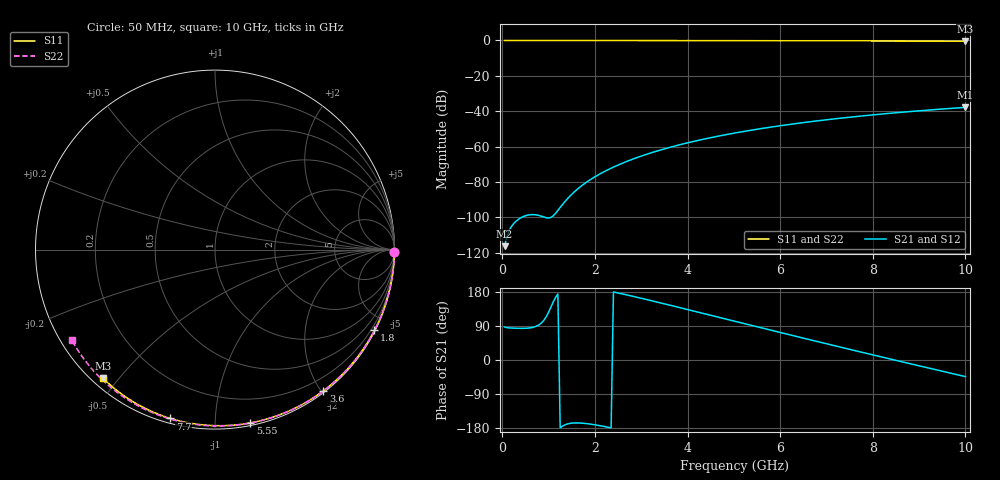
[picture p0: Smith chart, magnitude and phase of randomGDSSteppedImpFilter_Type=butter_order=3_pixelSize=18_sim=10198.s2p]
! freq	dB(S11)	phase(S11)	dB(S12)	phase(S12)
!  dB(S21)	phase(S21)	dB(S22)	phase(S22)
!S-par simulation data
#  GHz  S  DB  R 50
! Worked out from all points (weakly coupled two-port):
!   200 points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, 50 MHz to 10 GHz, reference 50 ohm
!   highest |S21| = -37.85 dB at 10 GHz (marker M1); lowest = -116.4 dB at 50 MHz (marker M2)
!   lowest |S11| = -0.4 dB at 10 GHz (marker M3), VSWR 39.10, Z = 1.54 - j22.7 ohm
!   |S11| at or under -10 dB: nowhere
!   |S22| runs from -0.5 to 0.0 dB; largest |S21 - S12| = 0
!   S11 on the Smith chart (normalised r, x): 50 MHz: open; 1.8 GHz: 0.04, -4.19; 3.6 GHz: 0.02, -2.03; 5.55 GHz: 0.02, -1.22; 7.7 GHz: 0.02, -0.77; 10 GHz: 0.03, -0.45
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0.05  -0.00 -0.8  -116.37 87.0  -116.37 87.0  -0.00 -0.9
0.45  -0.01 -6.8  -99.65 83.5  -99.65 83.5  -0.01 -7.7
0.9  -0.02 -13.6  -99.90 105.1  -99.90 105.1  -0.02 -15.2
1.3  -0.02 -19.5  -92.81 -174.5  -92.81 -174.5  -0.03 -21.9
1.75  -0.03 -26.1  -81.46 -166.9  -81.46 -166.9  -0.04 -29.3
1.8  -0.03 -26.9  -80.51 -167.6  -80.51 -167.6  -0.04 -30.2
1.85  -0.04 -27.6  -79.61 -168.3  -79.61 -168.3  -0.04 -31.0
2.05  -0.04 -30.5  -76.35 -172.1  -76.35 -172.1  -0.04 -34.3
2.2  -0.04 -32.7  -74.21 -175.4  -74.21 -175.4  -0.05 -36.7
2.55  -0.05 -37.7  -69.91 175.6  -69.91 175.6  -0.05 -42.3
2.95  -0.06 -43.4  -65.87 164.4  -65.87 164.4  -0.06 -48.7
3.4  -0.07 -49.8  -62.08 151.2  -62.08 151.2  -0.07 -55.8
3.6  -0.07 -52.5  -60.59 145.2  -60.59 145.2  -0.08 -58.9
4.3  -0.09 -62.1  -56.11 124.1  -56.11 124.1  -0.10 -69.5
5.05  -0.11 -72.0  -52.22 101.3  -52.22 101.3  -0.12 -80.6
5.55  -0.13 -78.5  -50.02 86.2  -50.02 86.2  -0.14 -87.7
6.1  -0.15 -85.4  -47.87 69.6  -47.87 69.6  -0.17 -95.5
6.7  -0.18 -92.8  -45.81 51.7  -45.81 51.7  -0.20 -103.8
7.7  -0.24 -104.8  -42.88 22.2  -42.88 22.2  -0.27 -117.2
8.35  -0.29 -112.4  -41.25 3.4  -41.25 3.4  -0.32 -125.9
9.2  -0.36 -122.1  -39.38 -21.1  -39.38 -21.1  -0.41 -137.1
10  -0.44 -131.1  -37.85 -43.9  -37.85 -43.9  -0.50 -147.7
